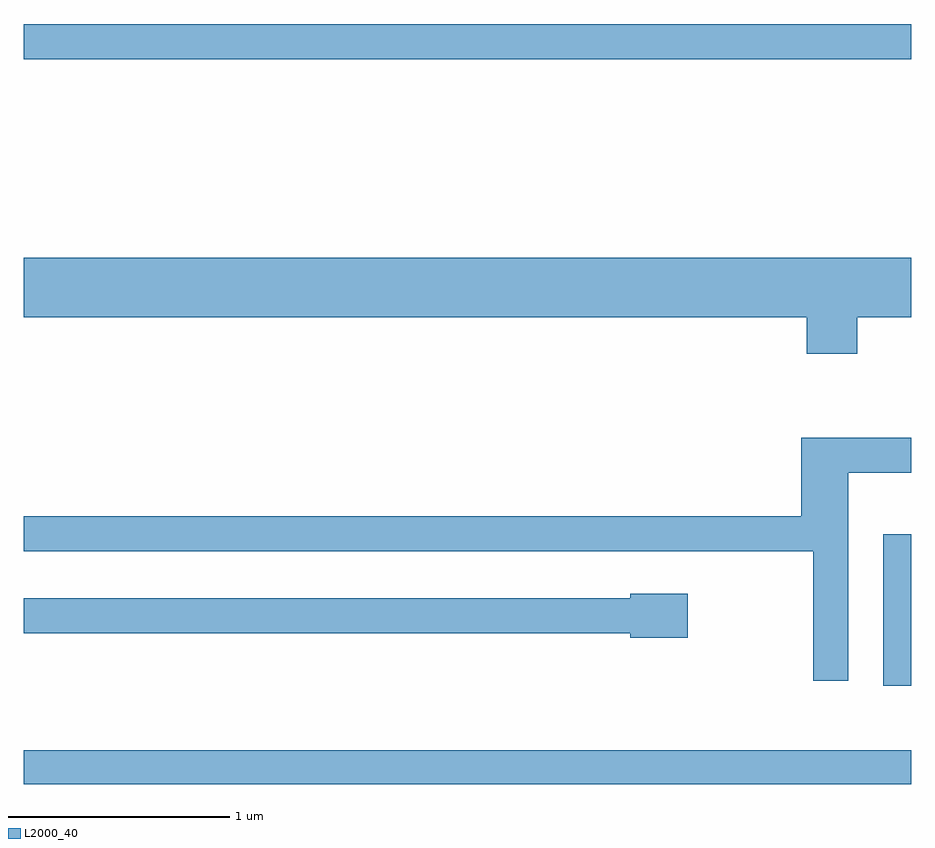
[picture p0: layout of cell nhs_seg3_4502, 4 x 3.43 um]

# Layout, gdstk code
import gdstk
lib = gdstk.Library(unit=1e-6, precision=1e-09)
def R(c, l, rs):  # rectangles x0, y0, x1, y1
    for r in rs: c.add(gdstk.rectangle(r[:2], r[2:], *l))
def P(c, l, *ps):  # polygons
    for p in ps: c.add(gdstk.Polygon(p, *l))
L2000_40 = (2000, 40)

nhs_seg3_4502 = lib.new_cell('nhs_seg3_4502')
R(nhs_seg3_4502, L2000_40, [(317.611,1143.892,321.611,1144.044), (321.486,1144.336,321.611,1145.019), (317.611,1147.161,321.611,1147.319)])
P(nhs_seg3_4502, L2000_40, [(321.369,1145.996),(321.611,1145.996),(321.611,1146.264),(317.611,1146.264),(317.611,1145.996),(321.141,1145.996),(321.141,1145.831),(321.369,1145.831)],
  [(321.329,1145.296),(321.611,1145.296),(321.611,1145.454),(321.116,1145.454),(321.116,1145.099),(317.611,1145.099),(317.611,1144.941),(321.171,1144.941),(321.171,1144.358),(321.329,1144.358)],
  [(320.604,1144.749),(320.346,1144.749),(320.346,1144.729),(317.611,1144.729),(317.611,1144.571),(320.346,1144.571),(320.346,1144.551),(320.604,1144.551)])

lib.write_gds('nhs_seg3_4502.gds')
